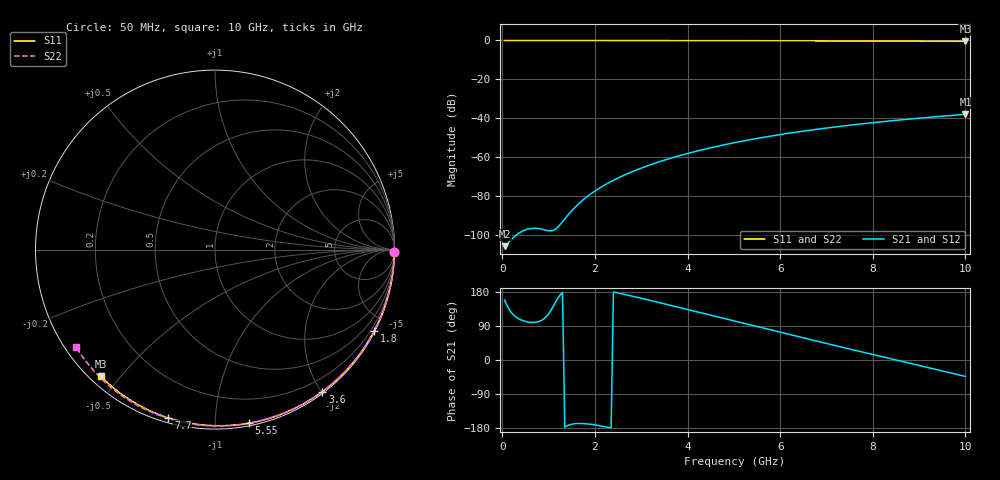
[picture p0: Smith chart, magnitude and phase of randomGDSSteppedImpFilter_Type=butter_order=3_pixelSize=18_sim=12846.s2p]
! freq	dB(S11)	phase(S11)	dB(S12)	phase(S12)
!  dB(S21)	phase(S21)	dB(S22)	phase(S22)
!S-par simulation data
#  GHz  S  DB  R 50
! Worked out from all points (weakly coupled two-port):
!   200 points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, 50 MHz to 10 GHz, reference 50 ohm
!   highest |S21| = -37.89 dB at 10 GHz (marker M1); lowest = -105.5 dB at 50 MHz (marker M2)
!   lowest |S11| = -0.4 dB at 10 GHz (marker M3), VSWR 39.08, Z = 1.53 - j22.3 ohm
!   |S11| at or under -10 dB: nowhere
!   |S22| runs from -0.5 to 0.0 dB; largest |S21 - S12| = 0
!   S11 on the Smith chart (normalised r, x): 50 MHz: open; 1.8 GHz: 0.04, -4.16; 3.6 GHz: 0.02, -2.01; 5.55 GHz: 0.02, -1.21; 7.7 GHz: 0.02, -0.76; 10 GHz: 0.03, -0.45
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0.05  -0.00 -0.8  -105.47 158.2  -105.47 158.2  -0.00 -0.8
0.45  -0.01 -6.9  -97.58 103.7  -97.58 103.7  -0.01 -7.6
0.9  -0.02 -13.7  -97.04 108.7  -97.04 108.7  -0.02 -15.1
1.75  -0.03 -26.3  -81.62 -167.8  -81.62 -167.8  -0.04 -29.0
1.8  -0.03 -27.1  -80.65 -168.3  -80.65 -168.3  -0.04 -29.8
1.85  -0.04 -27.8  -79.74 -168.9  -79.74 -168.9  -0.04 -30.6
2  -0.04 -30.0  -77.21 -171.3  -77.21 -171.3  -0.04 -33.1
2.15  -0.04 -32.2  -74.97 -174.4  -74.97 -174.4  -0.05 -35.5
2.35  -0.05 -35.1  -72.31 -179.2  -72.31 -179.2  -0.05 -38.7
2.55  -0.05 -38.0  -69.94 175.5  -69.94 175.5  -0.05 -41.9
2.95  -0.06 -43.7  -65.89 164.3  -65.89 164.3  -0.06 -48.2
3.4  -0.07 -50.1  -62.10 151.2  -62.10 151.2  -0.07 -55.1
3.6  -0.07 -52.9  -60.62 145.3  -60.62 145.3  -0.08 -58.2
4.3  -0.09 -62.5  -56.13 124.3  -56.13 124.3  -0.10 -68.7
5.05  -0.11 -72.5  -52.23 101.7  -52.23 101.7  -0.12 -79.6
5.55  -0.13 -79.0  -50.03 86.6  -50.03 86.6  -0.14 -86.7
6.1  -0.15 -86.0  -47.88 70.2  -47.88 70.2  -0.17 -94.3
6.7  -0.18 -93.4  -45.83 52.4  -45.83 52.4  -0.20 -102.4
7.7  -0.24 -105.5  -42.92 23.2  -42.92 23.2  -0.27 -115.6
8.35  -0.29 -113.1  -41.30 4.5  -41.30 4.5  -0.32 -123.9
9.2  -0.36 -122.9  -39.42 -20.0  -39.42 -20.0  -0.40 -134.8
10  -0.44 -131.9  -37.89 -43.3  -37.89 -43.3  -0.49 -145.0
